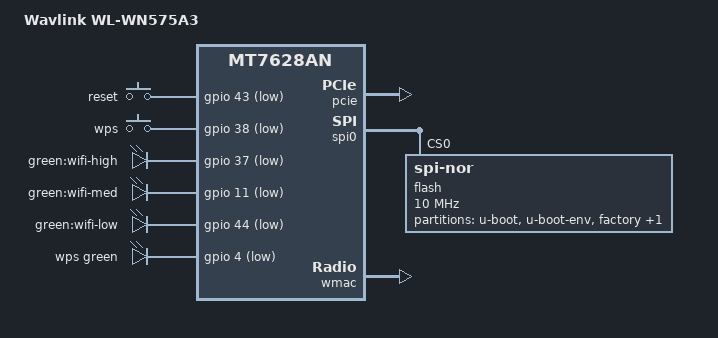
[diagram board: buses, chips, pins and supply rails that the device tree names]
#include "mt7628an.dtsi"

#include <dt-bindings/input/input.h>
#include <dt-bindings/leds/common.h>
#include <dt-bindings/gpio/gpio.h>

/ {
	compatible = "wavlink,wl-wn575a3", "mediatek,mt7628an-soc";
	model = "Wavlink WL-WN575A3";

	keys {
		compatible = "gpio-keys";

		reset {
			label = "reset";
			gpios = <&gpio 43 GPIO_ACTIVE_LOW>;
			linux,code = <KEY_RESTART>;
		};

		wps {
			label = "wps";
			gpios = <&gpio 38 GPIO_ACTIVE_LOW>;
			linux,code = <KEY_WPS_BUTTON>;
		};
	};

	leds {
		compatible = "gpio-leds";

		wifi-high {
			label = "green:wifi-high";
			gpios = <&gpio 37 GPIO_ACTIVE_LOW>;
		};

		wifi-med {
			label = "green:wifi-med";
			gpios = <&gpio 11 GPIO_ACTIVE_LOW>;
		};

		wifi-low {
			label = "green:wifi-low";
			gpios = <&gpio 44 GPIO_ACTIVE_LOW>;
		};

		wps {
			function = LED_FUNCTION_WPS;
			color = <LED_COLOR_ID_GREEN>;
			gpios = <&gpio 4 GPIO_ACTIVE_LOW>;
		};
	};
};

&state_default {
	gpio {
		groups = "i2c", "wled_an", "gpio", "refclk", "wdt", "p0led_an";
		function = "gpio";
	};
};

&pcie {
	status = "okay";
};

&pcie0 {
	mt76@0,0 {
		reg = <0x0000 0 0 0 0>;
		nvmem-cells = <&eeprom_factory_8000>;
		nvmem-cell-names = "eeprom";
		ieee80211-freq-limit = <5000000 6000000>;
	};
};

&spi0 {
	status = "okay";

	flash@0 {
		compatible = "jedec,spi-nor";
		reg = <0>;
		spi-max-frequency = <10000000>;

		partitions {
			compatible = "fixed-partitions";
			#address-cells = <1>;
			#size-cells = <1>;

			partition@0 {
				label = "u-boot";
				reg = <0x0 0x30000>;
				read-only;
			};

			partition@30000 {
				label = "u-boot-env";
				reg = <0x30000 0x10000>;
				read-only;
			};

			partition@40000 {
				label = "factory";
				reg = <0x40000 0x10000>;
				read-only;

				nvmem-layout {
					compatible = "fixed-layout";
					#address-cells = <1>;
					#size-cells = <1>;

					eeprom_factory_0: eeprom@0 {
						reg = <0x0 0x400>;
					};

					eeprom_factory_8000: eeprom@8000 {
						reg = <0x8000 0x200>;
					};

					macaddr_factory_28: macaddr@28 {
						reg = <0x28 0x6>;
					};
				};
			};

			partition@50000 {
				compatible = "denx,uimage";
				label = "firmware";
				reg = <0x50000 0x7b0000>;
			};
		};
	};
};

&wmac {
	status = "okay";

	nvmem-cells = <&eeprom_factory_0>;
	nvmem-cell-names = "eeprom";
};

&ethernet {
	nvmem-cells = <&macaddr_factory_28>;
	nvmem-cell-names = "mac-address";
};

&esw {
	mediatek,portmap = <0x2f>;
};
